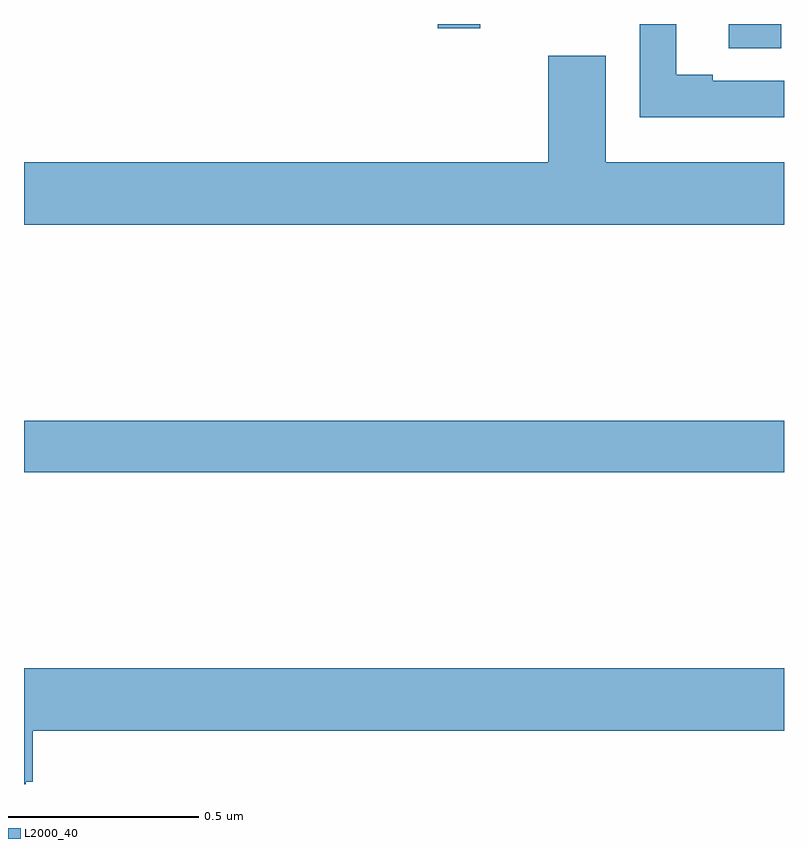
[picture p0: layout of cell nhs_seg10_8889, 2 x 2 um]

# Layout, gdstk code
import gdstk
lib = gdstk.Library(unit=1e-6, precision=1e-09)
def R(c, l, rs):  # rectangles x0, y0, x1, y1
    for r in rs: c.add(gdstk.rectangle(r[:2], r[2:], *l))
def P(c, l, *ps):  # polygons
    for p in ps: c.add(gdstk.Polygon(p, *l))
L2000_40 = (2000, 40)

nhs_seg10_8889 = lib.new_cell('nhs_seg10_8889')
R(nhs_seg10_8889, L2000_40, [(222,1310.32,224,1310.456), (223.854,1311.436,223.993,1311.5), (223.089,1311.489,223.201,1311.5)])
P(nhs_seg10_8889, L2000_40, [(224,1311.351),(223.813,1311.351),(223.813,1311.366),(223.717,1311.366),(223.717,1311.5),(223.62,1311.5),(223.62,1311.255),(224,1311.255)],
  [(224,1311.136),(223.531,1311.136),(223.531,1311.416),(223.379,1311.416),(223.379,1311.136),(222,1311.136),(222,1310.972),(224,1310.972)],
  [(222.004,1309.506),(222.023,1309.506),(222.023,1309.64),(224,1309.64),(224,1309.804),(222,1309.804),(222,1309.5),(222.004,1309.5)])

lib.write_gds('nhs_seg10_8889.gds')
